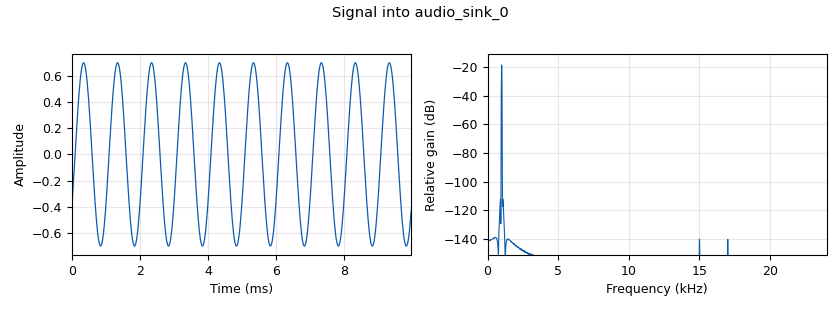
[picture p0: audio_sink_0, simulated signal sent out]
<?xml version='1.0' encoding='utf-8'?>
<?grc format='1' created='3.7.11'?>
<flow_graph>
<block>
<key>options</key>
<param><key>id</key><value>top_block_audio_sink</value></param>
<param><key>generate_options</key><value>qt_gui</value></param>
</block>
<block>
<key>variable_qtgui_entry</key>
<param><key>id</key><value>freq</value></param>
<param><key>value</key><value>1e3</value></param>
<param><key>type</key><value>real</value></param>
</block>
<block>
<key>variable_qtgui_entry</key>
<param><key>id</key><value>n_db</value></param>
<param><key>value</key><value>-130</value></param>
<param><key>type</key><value>real</value></param>
</block>
<block>
<key>variable</key>
<param><key>id</key><value>samp_rate</value></param>
<param><key>value</key><value>48000</value></param>
</block>
<block>
<key>analog_noise_source_x</key>
<param><key>id</key><value>analog_noise_source_x_0</value></param>
<param><key>amp</key><value>10**(1.0*n_db/20.0)</value></param>
<param><key>noise_type</key><value>analog.GR_GAUSSIAN</value></param>
<param><key>type</key><value>float</value></param>
<param><key>seed</key><value>0</value></param>
</block>
<block>
<key>analog_sig_source_x</key>
<param><key>id</key><value>analog_sig_source_x_0</value></param>
<param><key>amp</key><value>0.7</value></param>
<param><key>freq</key><value>freq</value></param>
<param><key>offset</key><value>0</value></param>
<param><key>type</key><value>float</value></param>
<param><key>samp_rate</key><value>samp_rate</value></param>
<param><key>waveform</key><value>analog.GR_COS_WAVE</value></param>
</block>
<block>
<key>audio_sink</key>
<param><key>id</key><value>audio_sink_0</value></param>
<param><key>samp_rate</key><value>samp_rate</value></param>
</block>
<block>
<key>blocks_add_xx</key>
<param><key>id</key><value>blocks_add_xx_0</value></param>
<param><key>type</key><value>float</value></param>
</block>
<connection><source_block_id>analog_noise_source_x_0</source_block_id><sink_block_id>blocks_add_xx_0</sink_block_id><source_key>0</source_key><sink_key>1</sink_key></connection>
<connection><source_block_id>analog_sig_source_x_0</source_block_id><sink_block_id>blocks_add_xx_0</sink_block_id><source_key>0</source_key><sink_key>0</sink_key></connection>
<connection><source_block_id>blocks_add_xx_0</source_block_id><sink_block_id>audio_sink_0</sink_block_id><source_key>0</source_key><sink_key>0</sink_key></connection>
</flow_graph>
